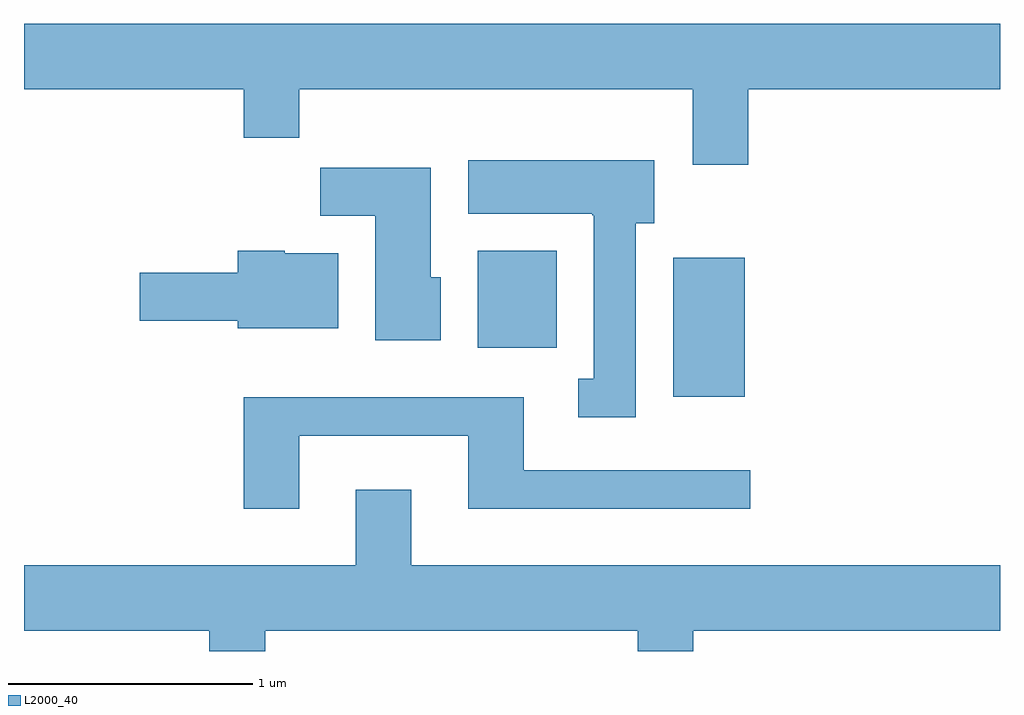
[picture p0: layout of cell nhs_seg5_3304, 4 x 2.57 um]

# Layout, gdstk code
import gdstk
lib = gdstk.Library(unit=1e-6, precision=1e-09)
def R(c, l, rs):  # rectangles x0, y0, x1, y1
    for r in rs: c.add(gdstk.rectangle(r[:2], r[2:], *l))
def P(c, l, *ps):  # polygons
    for p in ps: c.add(gdstk.Polygon(p, *l))
L2000_40 = (2000, 40)

nhs_seg5_3304 = lib.new_cell('nhs_seg5_3304')
R(nhs_seg5_3304, L2000_40, [(286.271,1431.116,286.564,1431.684), (285.471,1431.316,285.794,1431.714)])
P(nhs_seg5_3304, L2000_40, [(286.579,1432.376),(287.611,1432.376),(287.611,1432.644),(283.611,1432.644),(283.611,1432.376),(284.511,1432.376),(284.511,1432.176),(284.739,1432.176),(284.739,1432.376),(286.351,1432.376),(286.351,1432.066),(286.579,1432.066)],
  [(286.119,1431.826),(286.194,1431.826),(286.194,1432.084),(285.431,1432.084),(285.431,1431.866),(285.94,1431.866),(285.94,1431.86),(285.946,1431.86),(285.946,1431.189),(285.883,1431.189),(285.883,1431.031),(286.119,1431.031)],
  [(285.319,1431.604),(285.279,1431.604),(285.279,1432.054),(284.826,1432.054),(284.826,1431.856),(285.051,1431.856),(285.051,1431.346),(285.319,1431.346)],
  [(284.899,1431.704),(284.68,1431.704),(284.68,1431.714),(284.486,1431.714),(284.486,1431.624),(284.086,1431.624),(284.086,1431.426),(284.486,1431.426),(284.486,1431.396),(284.899,1431.396)],
  [(284.739,1430.956),(285.431,1430.956),(285.431,1430.656),(286.588,1430.656),(286.588,1430.814),(285.659,1430.814),(285.659,1431.114),(284.511,1431.114),(284.511,1430.656),(284.739,1430.656)],
  [(284.599,1430.156),(286.126,1430.156),(286.126,1430.072),(286.354,1430.072),(286.354,1430.156),(287.611,1430.156),(287.611,1430.424),(285.199,1430.424),(285.199,1430.734),(284.971,1430.734),(284.971,1430.424),(283.611,1430.424),(283.611,1430.156),(284.371,1430.156),(284.371,1430.072),(284.599,1430.072)])

lib.write_gds('nhs_seg5_3304.gds')
